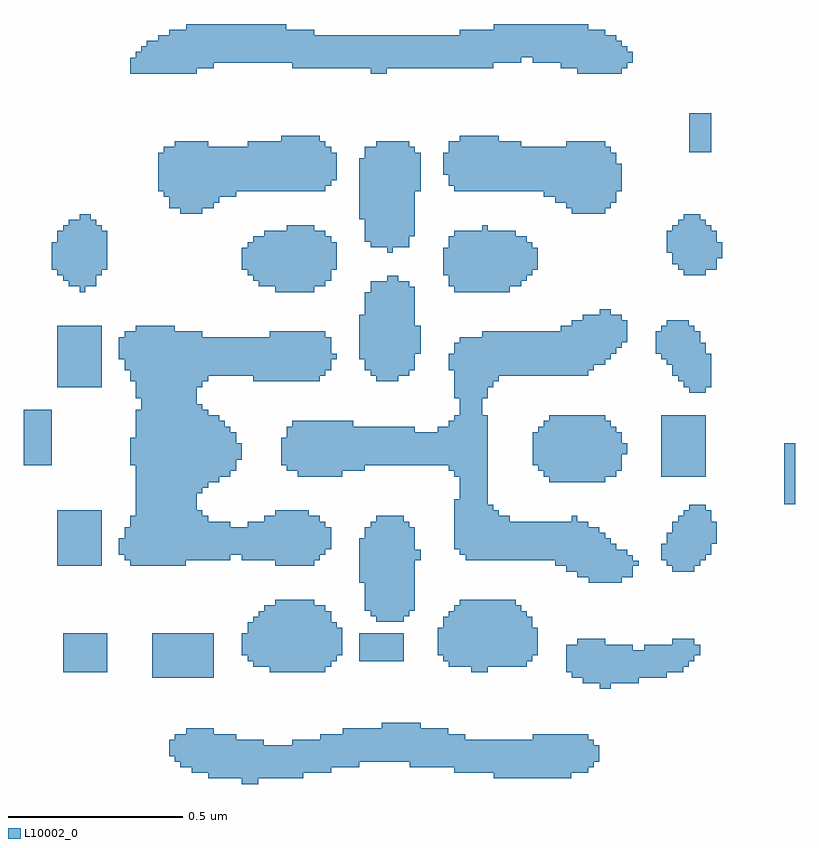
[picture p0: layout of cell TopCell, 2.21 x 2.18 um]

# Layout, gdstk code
import gdstk
lib = gdstk.Library(unit=1e-6, precision=1e-09)
def R(c, l, rs):  # rectangles x0, y0, x1, y1
    for r in rs: c.add(gdstk.rectangle(r[:2], r[2:], *l))
L10002_0 = (10002, 0)

topcell = lib.new_cell('TopCell')
R(topcell, L10002_0, [(1.408,0.736,1.455,0.752), (1.312,0.752,1.583,0.768), (2.128,0.752,2.351,0.768), (1.264,0.768,1.663,0.784), (2.016,0.768,2.399,0.784), (1.232,0.784,1.743,0.8), (1.888,0.784,2.415,0.8), (1.216,0.8,2.431,0.816), (1.2,0.816,2.431,0.847), (1.2,0.847,1.471,0.863), (1.552,0.847,2.415,0.863), (1.216,0.863,1.391,0.879), (1.632,0.863,2.047,0.879), (2.24,0.863,2.399,0.879), (1.248,0.879,1.327,0.895), (1.696,0.879,1.999,0.895), (1.808,0.895,1.919,0.911), (2.432,1.008,2.463,1.024), (2.384,1.024,2.543,1.04), (1.152,1.04,1.327,1.167), (2.352,1.04,2.623,1.056), (0.896,1.056,1.023,1.167), (1.488,1.056,1.647,1.072), (2.064,1.056,2.111,1.072), (2.336,1.056,2.671,1.119), (1.44,1.072,1.663,1.088), (2,1.072,2.223,1.088), (2.671,1.072,2.687,1.119), (1.424,1.088,1.679,1.104), (1.744,1.088,1.871,1.167), (1.984,1.088,2.239,1.104), (2.687,1.088,2.703,1.119), (1.408,1.104,1.695,1.167), (1.968,1.104,2.255,1.183), (2.703,1.104,2.719,1.119), (2.336,1.119,2.527,1.135), (2.56,1.119,2.719,1.135), (2.368,1.135,2.447,1.151), (2.64,1.135,2.703,1.151), (1.424,1.167,1.695,1.183), (1.424,1.183,1.679,1.199), (1.984,1.183,2.239,1.215), (1.44,1.199,1.663,1.215), (1.792,1.2,1.871,1.216), (1.456,1.215,1.663,1.231), (2,1.215,2.223,1.231), (1.776,1.216,1.887,1.232), (1.472,1.231,1.647,1.247), (2.016,1.231,2.207,1.247), (1.76,1.232,1.903,1.312), (1.504,1.247,1.615,1.263), (2.032,1.247,2.191,1.263), (1.744,1.312,1.903,1.439), (2.4,1.312,2.495,1.328), (2.368,1.328,2.527,1.344), (2.336,1.344,2.527,1.36), (2.64,1.344,2.703,1.36), (0.88,1.36,1.007,1.519), (1.088,1.36,1.247,1.376), (1.504,1.36,1.615,1.376), (2.304,1.36,2.543,1.375), (2.624,1.36,2.719,1.376), (2.304,1.375,2.527,1.376), (1.072,1.376,1.375,1.392), (1.408,1.376,1.631,1.392), (1.903,1.376,1.919,1.407), (2.048,1.376,2.527,1.391), (2.608,1.376,2.735,1.423), (2.048,1.391,2.511,1.392), (1.056,1.392,1.647,1.439), (2.032,1.392,2.511,1.407), (2.735,1.392,2.751,1.423), (2.032,1.407,2.479,1.408), (1.647,1.408,1.663,1.439), (2.016,1.408,2.479,1.423), (2.016,1.423,2.463,1.439), (2.624,1.423,2.751,1.455), (2.751,1.424,2.767,1.455), (1.072,1.439,1.663,1.471), (1.76,1.439,1.903,1.471), (2.016,1.439,2.447,1.455), (2.016,1.455,2.431,1.471), (2.64,1.455,2.767,1.487), (1.088,1.471,1.375,1.487), (1.424,1.471,1.647,1.487), (1.776,1.471,1.887,1.487), (2.016,1.471,2.399,1.487), (1.088,1.487,1.311,1.503), (1.472,1.487,1.631,1.503), (1.792,1.487,1.871,1.503), (2.016,1.487,2.175,1.503), (2.352,1.487,2.367,1.503), (2.656,1.487,2.751,1.503), (1.104,1.503,1.295,1.519), (1.504,1.503,1.599,1.519), (2.016,1.503,2.143,1.519), (2.672,1.503,2.751,1.519), (1.104,1.519,1.279,1.648), (2.016,1.519,2.127,1.535), (2.688,1.519,2.735,1.535), (2.016,1.535,2.111,1.551), (2.96,1.536,2.991,1.711), (2.032,1.551,2.111,1.616), (1.279,1.568,1.295,1.648), (1.295,1.584,1.311,1.648), (1.311,1.6,1.343,1.648), (2.288,1.6,2.447,1.616), (1.343,1.616,1.375,1.648), (1.568,1.616,1.695,1.632), (2.016,1.616,2.111,1.632), (2.272,1.616,2.479,1.632), (2.608,1.616,2.735,1.791), (1.375,1.632,1.391,1.648), (1.536,1.632,1.759,1.648), (2,1.632,2.111,1.648), (2.256,1.632,2.495,1.648), (0.784,1.648,0.863,1.807), (1.088,1.648,1.391,1.727), (1.52,1.648,2.111,1.727), (2.24,1.648,2.495,1.743), (1.391,1.664,1.407,1.711), (2.495,1.68,2.511,1.711), (1.104,1.727,1.391,1.743), (1.536,1.727,2.111,1.743), (1.104,1.743,1.375,1.759), (1.536,1.743,1.903,1.759), (1.968,1.743,2.111,1.759), (2.256,1.743,2.479,1.759), (1.104,1.759,1.359,1.775), (1.552,1.759,1.727,1.775), (2,1.759,2.111,1.775), (2.272,1.759,2.463,1.775), (1.104,1.775,1.343,1.791), (2.016,1.775,2.111,1.791), (2.288,1.775,2.447,1.791), (1.104,1.791,1.311,1.807), (2.032,1.791,2.095,1.84), (1.12,1.807,1.295,1.823), (1.12,1.823,1.279,1.84), (1.104,1.84,1.279,1.888), (2.016,1.84,2.111,1.92), (2.688,1.856,2.735,1.872), (0.88,1.872,1.007,2.047), (1.279,1.872,1.295,1.888), (2.111,1.872,2.127,1.92), (2.672,1.872,2.751,1.888), (1.088,1.888,1.311,1.92), (1.44,1.888,1.631,1.904), (1.792,1.888,1.855,1.904), (2.127,1.888,2.143,1.92), (2.656,1.888,2.751,1.904), (1.311,1.904,1.647,1.92), (1.776,1.904,1.887,1.92), (2.143,1.904,2.399,1.92), (2.64,1.904,2.751,1.936), (1.072,1.92,1.663,1.952), (1.76,1.92,1.903,1.952), (2,1.92,2.415,1.967), (2.415,1.936,2.447,1.967), (2.624,1.936,2.751,1.952), (1.056,1.952,1.679,1.967), (1.744,1.952,1.903,2.079), (2.447,1.952,2.463,1.967), (2.608,1.952,2.751,1.967), (1.056,1.967,1.663,2.015), (2.016,1.967,2.463,1.999), (2.608,1.967,2.735,1.968), (1.903,1.968,1.919,2.047), (2.463,1.968,2.479,1.999), (2.592,1.968,2.735,1.999), (2.479,1.984,2.495,1.999), (2.032,1.999,2.495,2.015), (2.592,1.999,2.719,2.031), (2.495,2,2.511,2.015), (1.072,2.015,1.295,2.031), (1.488,2.015,1.647,2.031), (2.096,2.015,2.511,2.031), (1.104,2.031,1.215,2.047), (2.32,2.031,2.511,2.047), (2.608,2.031,2.703,2.047), (2.352,2.047,2.511,2.063), (2.624,2.047,2.687,2.063), (2.384,2.063,2.495,2.079), (1.76,2.079,1.903,2.143), (2.432,2.079,2.463,2.095), (1.776,2.143,1.903,2.159), (0.944,2.144,0.959,2.16), (1.504,2.144,1.615,2.16), (2.016,2.144,2.175,2.16), (1.776,2.159,1.887,2.175), (0.912,2.16,0.991,2.176), (1.456,2.16,1.647,2.176), (2,2.16,2.207,2.192), (1.824,2.175,1.855,2.191), (0.896,2.176,0.991,2.192), (1.44,2.176,1.663,2.192), (2.207,2.176,2.223,2.192), (0.88,2.192,1.007,2.208), (1.424,2.192,1.663,2.208), (1.984,2.192,2.239,2.271), (2.672,2.192,2.735,2.208), (0.864,2.208,1.023,2.287), (1.408,2.208,1.679,2.271), (2.239,2.208,2.255,2.271), (2.656,2.208,2.767,2.224), (2.64,2.224,2.767,2.256), (2.767,2.24,2.783,2.256), (1.824,2.256,1.839,2.272), (2.624,2.256,2.783,2.287), (1.424,2.271,1.679,2.287), (2,2.271,2.239,2.287), (1.776,2.272,1.887,2.288), (0.88,2.287,1.023,2.319), (1.44,2.287,1.663,2.303), (2,2.287,2.223,2.303), (2.624,2.287,2.767,2.319), (1.76,2.288,1.887,2.352), (1.472,2.303,1.647,2.319), (2.016,2.303,2.191,2.319), (1.887,2.304,1.903,2.352), (0.896,2.319,1.007,2.335), (1.536,2.319,1.615,2.335), (2.096,2.319,2.111,2.335), (2.64,2.319,2.751,2.335), (0.912,2.335,0.991,2.351), (2.656,2.335,2.735,2.351), (0.944,2.351,0.975,2.367), (2.672,2.351,2.719,2.367), (1.744,2.352,1.903,2.527), (1.232,2.368,1.295,2.384), (2.352,2.368,2.447,2.384), (1.2,2.384,1.327,2.416), (2.336,2.384,2.463,2.4), (1.327,2.4,1.343,2.416), (2.304,2.4,2.479,2.416), (1.184,2.416,1.391,2.432), (2.272,2.416,2.479,2.432), (1.168,2.432,1.647,2.543), (1.903,2.432,1.919,2.527), (2.016,2.432,2.495,2.448), (1.647,2.448,1.663,2.543), (2,2.448,2.495,2.48), (1.663,2.464,1.679,2.543), (1.984,2.48,2.495,2.511), (1.984,2.511,2.479,2.543), (1.76,2.527,1.919,2.543), (1.184,2.543,1.663,2.559), (1.76,2.543,1.903,2.559), (2,2.543,2.463,2.559), (2.688,2.544,2.751,2.655), (1.216,2.559,1.311,2.575), (1.424,2.559,1.647,2.575), (1.792,2.559,1.887,2.575), (2,2.559,2.207,2.575), (2.336,2.559,2.447,2.575), (1.52,2.575,1.631,2.591), (2.032,2.575,2.143,2.591), (1.088,2.768,1.279,2.815), (1.776,2.768,1.823,2.784), (2.368,2.768,2.495,2.784), (1.279,2.784,1.327,2.815), (1.552,2.784,2.127,2.8), (2.32,2.784,2.511,2.8), (1.327,2.8,2.207,2.815), (2.24,2.8,2.527,2.816), (1.104,2.815,2.207,2.831), (2.207,2.816,2.527,2.831), (1.12,2.831,2.511,2.847), (1.136,2.847,2.495,2.863), (1.168,2.863,2.479,2.879), (1.2,2.879,1.615,2.895), (2.032,2.879,2.447,2.895), (1.248,2.895,1.535,2.911), (2.128,2.895,2.399,2.911)])

lib.write_gds('TopCell.gds')
